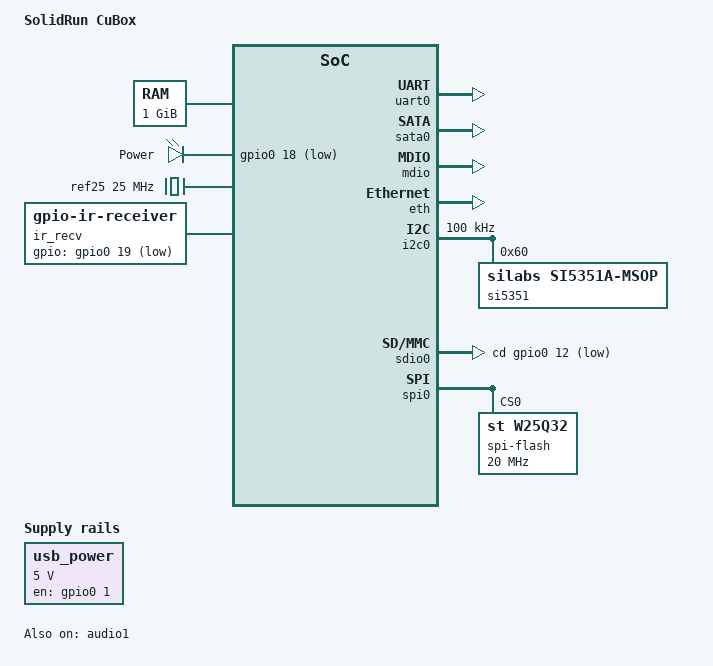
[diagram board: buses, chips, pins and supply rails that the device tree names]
/dts-v1/;

#include "dove.dtsi"

/ {
	model = "SolidRun CuBox";
	compatible = "solidrun,cubox", "marvell,dove";

	memory {
		device_type = "memory";
		reg = <0x00000000 0x40000000>;
	};

	chosen {
		bootargs = "console=ttyS0,115200n8 earlyprintk";
	};

	leds {
		compatible = "gpio-leds";
		pinctrl-0 = <&pmx_gpio_18>;
		pinctrl-names = "default";

		power {
			label = "Power";
			gpios = <&gpio0 18 1>;
			linux,default-trigger = "default-on";
		};
	};

	regulators {
		compatible = "simple-bus";
		#address-cells = <1>;
		#size-cells = <0>;

		usb_power: regulator@1 {
			compatible = "regulator-fixed";
			reg = <1>;
			regulator-name = "USB Power";
			regulator-min-microvolt = <5000000>;
			regulator-max-microvolt = <5000000>;
			enable-active-high;
			regulator-always-on;
			regulator-boot-on;
			gpio = <&gpio0 1 0>;
			pinctrl-0 = <&pmx_gpio_1>;
			pinctrl-names = "default";
		};
	};

	clocks {
		/* 25MHz reference crystal */
		ref25: oscillator {
			compatible = "fixed-clock";
			#clock-cells = <0>;
			clock-frequency = <25000000>;
		};
	};

	ir_recv: ir-receiver {
		compatible = "gpio-ir-receiver";
		gpios = <&gpio0 19 1>;
		pinctrl-0 = <&pmx_gpio_19>;
		pinctrl-names = "default";
	};
};

&uart0 { status = "okay"; };
&sata0 { status = "okay"; };
&mdio { status = "okay"; };
&eth { status = "okay"; };

&ethphy {
	compatible = "marvell,88e1310";
	reg = <1>;
};

&i2c0 {
	status = "okay";
	clock-frequency = <100000>;

	si5351: clock-generator {
		compatible = "silabs,si5351a-msop";
		reg = <0x60>;
		#address-cells = <1>;
		#size-cells = <0>;
		#clock-cells = <1>;

		/* connect xtal input to 25MHz reference */
		clocks = <&ref25>;

		/* connect xtal input as source of pll0 and pll1 */
		silabs,pll-source = <0 0>, <1 0>;

		clkout0 {
			reg = <0>;
			silabs,drive-strength = <8>;
			silabs,multisynth-source = <0>;
			silabs,clock-source = <0>;
			silabs,pll-master;
		};

		clkout1 {
			reg = <1>;
			silabs,drive-strength = <8>;
			silabs,multisynth-source = <1>;
			silabs,clock-source = <0>;
			silabs,pll-master;
		};

		clkout2 {
			reg = <2>;
			silabs,multisynth-source = <1>;
			silabs,clock-source = <0>;
		};
	};
};

&sdio0 {
	status = "okay";
	/* sdio0 card detect is connected to wrong pin on CuBox */
	cd-gpios = <&gpio0 12 1>;
	pinctrl-0 = <&pmx_sdio0 &pmx_gpio_12>;
};

&spi0 {
	status = "okay";

	/* spi0.0: 4M Flash Winbond W25Q32BV */
	spi-flash@0 {
		compatible = "st,w25q32";
		spi-max-frequency = <20000000>;
		reg = <0>;
	};
};

&audio1 {
	status = "okay";
	clocks = <&gate_clk 13>, <&si5351 2>;
	clock-names = "internal", "extclk";
	pinctrl-0 = <&pmx_audio1_i2s1_spdifo &pmx_audio1_extclk>;
	pinctrl-names = "default";
};
